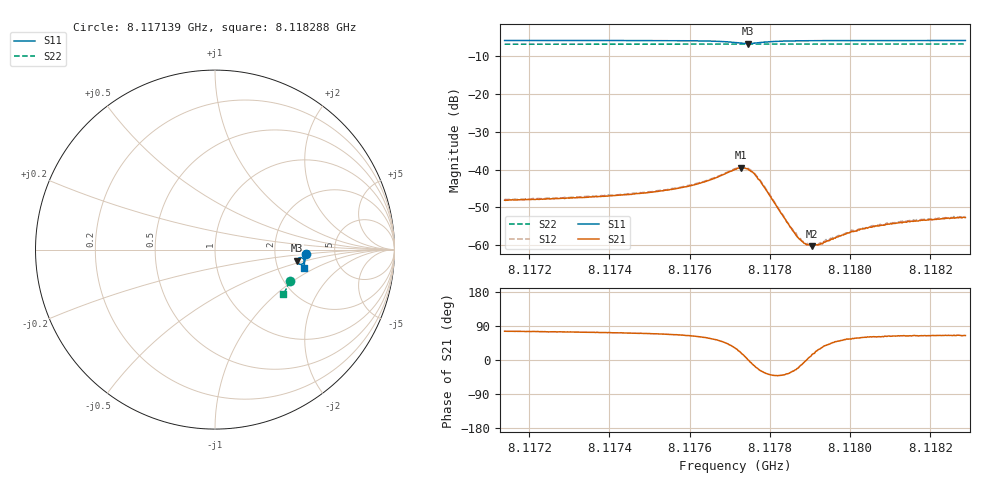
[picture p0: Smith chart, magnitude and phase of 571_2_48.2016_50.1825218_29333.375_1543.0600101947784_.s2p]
#  HZ  S  RI  R  50.00
! Rohde & Schwarz Vector Network Analyzer
! Rohde-Schwarz,ZNB20-2Port,1311601062101988,3.16
! Created: UTC 3/20/2024, 12:01:41 PM
! freq[Hz]  re:S11  im:S11  re:S21  im:S21  re:S12  im:S12  re:S22  im:S22
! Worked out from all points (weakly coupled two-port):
!   401 points, 8.117139 GHz to 8.118288 GHz, reference 50 ohm
!   highest |S21| = -39.47 dB at 8.117727 GHz (marker M1); lowest = -60.2 dB at 8.117906 GHz (marker M2)
!   lowest |S11| = -6.7 dB at 8.117745 GHz (marker M3), VSWR 2.72, Z = 132 - j20.6 ohm
!   |S11| at or under -10 dB: nowhere
!   |S22| runs from -6.9 to -6.8 dB; largest |S21 - S12| = 0.00047
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8.1171385e9  0.506 -0.0261  0.00096 0.00382  0.00102 0.00391  0.4154 -0.1777
8.117331e9  0.5042 -0.0419  0.00122 0.00409  0.00128 0.00421  0.4104 -0.1901
8.11742e9  0.5032 -0.0498  0.00144 0.00435  0.00144 0.00442  0.408 -0.1959
8.1175235e9  0.5009 -0.0599  0.00189 0.00484  0.00192 0.00492  0.4048 -0.2027
8.1176211e9  0.4953 -0.0723  0.00308 0.00571  0.00317 0.00581  0.4017 -0.209
8.1176642e9  0.4886 -0.079  0.00457 0.00626  0.00471 0.00636  0.4001 -0.2117
8.117713e9  0.4692 -0.0807  0.00857 0.00524  0.0088 0.00534  0.3978 -0.2146
8.1177274e9  0.4616 -0.0746  0.01 0.00358  0.0102 0.00352  0.3972 -0.2151
8.1177446e9  0.4578 -0.0615  0.0103 0.000243  0.0105 0.000285  0.3967 -0.2156
8.1177619e9  0.4645 -0.049  0.00842 -0.00235  0.00851 -0.00246  0.3967 -0.2161
8.1177791e9  0.4752 -0.0444  0.00576 -0.00327  0.00592 -0.0034  0.3966 -0.217
8.1178452e9  0.4954 -0.056  0.00158 -0.00115  0.00157 -0.00115  0.3953 -0.2217
8.1178682e9  0.4974 -0.0604  0.0012 -0.000494  0.00122 -0.000519  0.3947 -0.2233
8.1178854e9  0.498 -0.0632  0.00105 -0.000111  0.00108 -0.000168  0.394 -0.2244
8.1178969e9  0.4984 -0.0651  0.00101 0.000105  0.000982 8.64e-05  0.3939 -0.2252
8.1179055e9  0.4986 -0.0662  0.000946 0.000253  0.001 0.000229  0.3936 -0.2256
8.1179256e9  0.4989 -0.069  0.000901 0.000516  0.000943 0.000541  0.393 -0.2271
8.1180089e9  0.4988 -0.0785  0.000839 0.00127  0.000844 0.00133  0.3902 -0.2324
8.1180463e9  0.4983 -0.0822  0.000845 0.00149  0.000875 0.00151  0.3889 -0.2346
8.118098e9  0.4978 -0.0871  0.000855 0.00169  0.000897 0.0017  0.3871 -0.2379
8.1181727e9  0.4968 -0.0935  0.000936 0.00191  0.000932 0.00195  0.3846 -0.2425
8.1182876e9  0.495 -0.1028  0.000996 0.0021  0.00102 0.00216  0.3805 -0.2495
